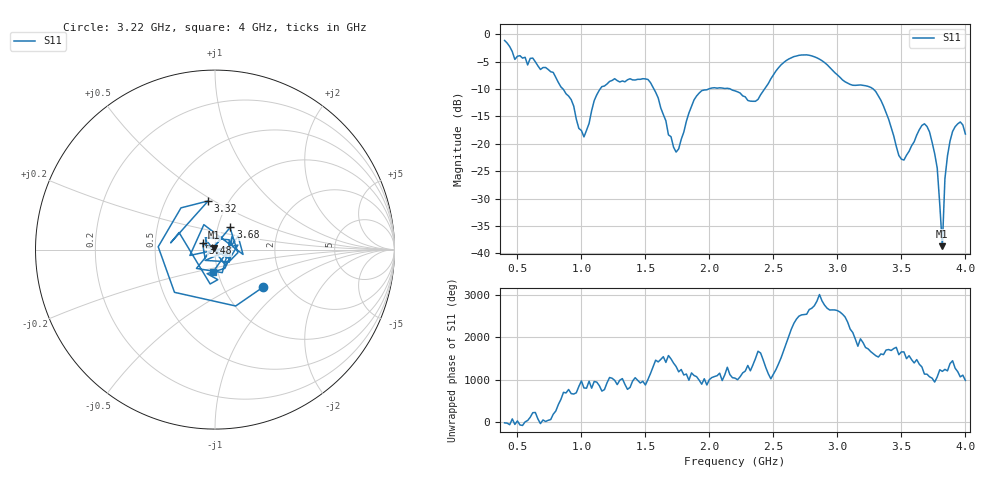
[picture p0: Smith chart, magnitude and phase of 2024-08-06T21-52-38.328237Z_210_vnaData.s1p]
!Created with skrf (http://scikit-rf.org).
# Hz S RI R 50.0
!freq ReS11 ImS11
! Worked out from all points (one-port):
!   181 points, 400 MHz to 4 GHz, reference 50 ohm
!   lowest |S11| = -38.7 dB at 3.82 GHz (marker M1), VSWR 1.02, Z = 49.4 + j0.998 ohm
!   |S11| at or under -10 dB: 856.7 MHz to 1.146 GHz (289.3 MHz wide, 28.9 % of centre); 1.567 GHz to 1.993 GHz (425.7 MHz wide, 23.9 % of centre); 3.281 GHz to end of sweep (the widest 3 of 4)
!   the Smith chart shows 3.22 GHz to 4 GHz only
!   S11 on the Smith chart (normalised r, x): 3.22 GHz: 1.52, -0.72; 3.32 GHz: 0.80, +0.47; 3.48 GHz: 0.87, +0.06; 3.68 GHz: 1.15, +0.30; 4 GHz: 0.95, -0.24
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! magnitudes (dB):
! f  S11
! 400 MHz  -1.1
! 480 MHz  -4.6
! 620 MHz  -4.3
! 860 MHz  -10.1
! 1.02 GHz  -18.7
! 1.14 GHz  -10.2
! 1.3 GHz  -8.7
! 1.52 GHz  -8.3
! 1.72 GHz  -20.6
! 1.76 GHz  -20.9
! 1.92 GHz  -10.7
! 2.2 GHz  -10.3
! 2.36 GHz  -12.2
! 2.66 GHz  -4.1
! 2.84 GHz  -4.3
! 3.1 GHz  -9.2
! 3.22 GHz  -9.4
! 3.32 GHz  -11.3
! 3.48 GHz  -22.1
! 3.56 GHz  -21.4
! 3.68 GHz  -16.3
! 3.72 GHz  -17.8
! 3.78 GHz  -24.4
! 3.82 GHz  -38.7
! 3.84 GHz  -26.4
! 3.88 GHz  -19.5
! 3.96 GHz  -16.0
! 4 GHz  -18.2
